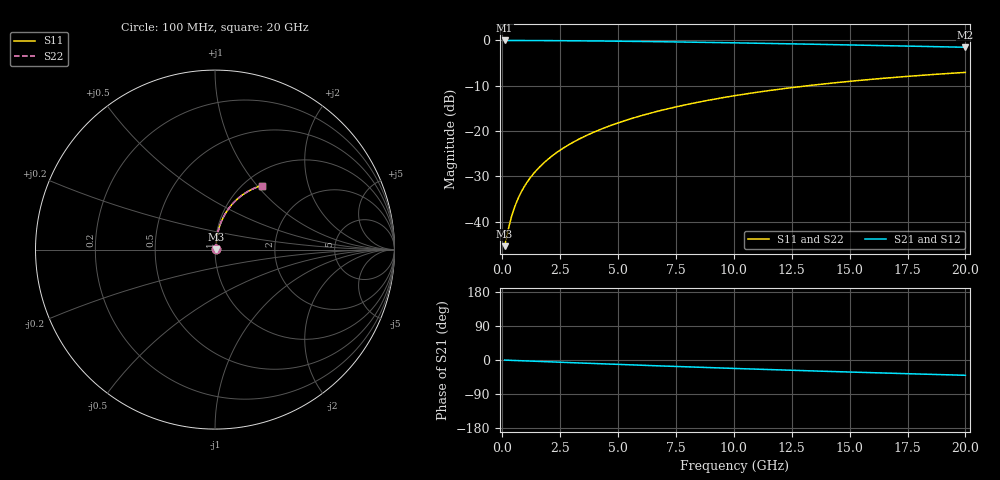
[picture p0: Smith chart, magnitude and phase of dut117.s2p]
! Touchstone file exported from HFSS 2024.1.0
!  File:  C:/UserFiles/LocalFiles/RDL_TSV_Batchsim/temp_RDL_top_117_1778683841.aedt
!  Generated:  10:52:52 PM May 13, 2026
!  Design:  RDL_top
!  Project:  temp_RDL_top_117_1778683841
!  Setup:  Setup1
!  Solution:  Sweep
! Variables:
!  dtsv = 10.80580581um
!  hbump = 3um
!  htsv = 85.91um
!  ldown = 100um
!  lrdl = 490.53um
!  p = 40
!  p1 = 56.11um
!  rhole = 1um
!  t = 450um
!  tdown = 3.915915916um
!  trdl = 2.35um
!  wdown = 15.38538539um
!  wrdl = 16.48um
# GHz S MA R 50.000000
! Terminal data exported
! Port[1] = Box2_T1
! Port[2] = Box2_T2
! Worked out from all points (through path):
!   200 points, 100 MHz to 20 GHz, reference 50 ohm
!   highest |S21| = -0.04 dB at 100 MHz (marker M1); lowest = -1.5 dB at 20 GHz (marker M2)
!   group delay of S21, straight-line fit = 5.6 ps
!   lowest |S11| = -45.4 dB at 100 MHz (marker M3), VSWR 1.01, Z = 50.5 + j0.26 ohm
!   |S11| at or under -10 dB: start of sweep to 13.25 GHz
!   |S22| runs from -45.4 to -7.1 dB; largest |S21 - S12| = 2.7e-15
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0.1  0.005346 28.8  0.9953 -0.2  0.9953 -0.2  0.005346 28.8
! Gamma 0 0 0 0
! Port Impedance 50 0 50 0
0.3  0.009087 57.5  0.9951 -0.7  0.9951 -0.7  0.009087 57.5
0.4  0.01134 63.7  0.9949 -1.0  0.9949 -1.0  0.01134 63.7
0.5  0.01366 67.6  0.9948 -1.2  0.9948 -1.2  0.01366 67.6
0.6  0.01601 70.4  0.9946 -1.5  0.9946 -1.5  0.01601 70.4
0.7  0.01837 72.4  0.9944 -1.7  0.9944 -1.7  0.01837 72.4
0.9  0.02309 75.1  0.994 -2.2  0.994 -2.2  0.02309 75.1
1.2  0.0302 77.6  0.9933 -2.9  0.9933 -2.9  0.0302 77.6
1.4  0.03495 78.6  0.9929 -3.3  0.9929 -3.3  0.03495 78.6
1.7  0.04211 79.7  0.9921 -4.0  0.9921 -4.0  0.04211 79.7
2.2  0.05413 80.6  0.9906 -5.2  0.9906 -5.2  0.05413 80.6
2.8  0.06865 80.9  0.9885 -6.6  0.9885 -6.6  0.06866 80.9
3.5  0.08573 80.7  0.9854 -8.2  0.9854 -8.2  0.08573 80.7
4.2  0.1029 80.2  0.9818 -9.8  0.9818 -9.8  0.1029 80.2
5  0.1226 79.4  0.977 -11.6  0.977 -11.6  0.1226 79.4
5.9  0.1448 78.2  0.971 -13.6  0.971 -13.6  0.1448 78.2
6.8  0.1669 76.8  0.9644 -15.6  0.9644 -15.6  0.1669 76.8
8.4  0.2058 74.2  0.9515 -19.0  0.9515 -19.0  0.2059 74.2
10.1  0.2461 71.2  0.9363 -22.4  0.9363 -22.4  0.2461 71.2
13.4  0.3195 65.2  0.9045 -28.8  0.9045 -28.8  0.3195 65.2
16.7  0.3851 59.3  0.8709 -34.8  0.8709 -34.8  0.3851 59.3
20  0.4423 53.8  0.837 -40.3  0.837 -40.3  0.4424 53.8
